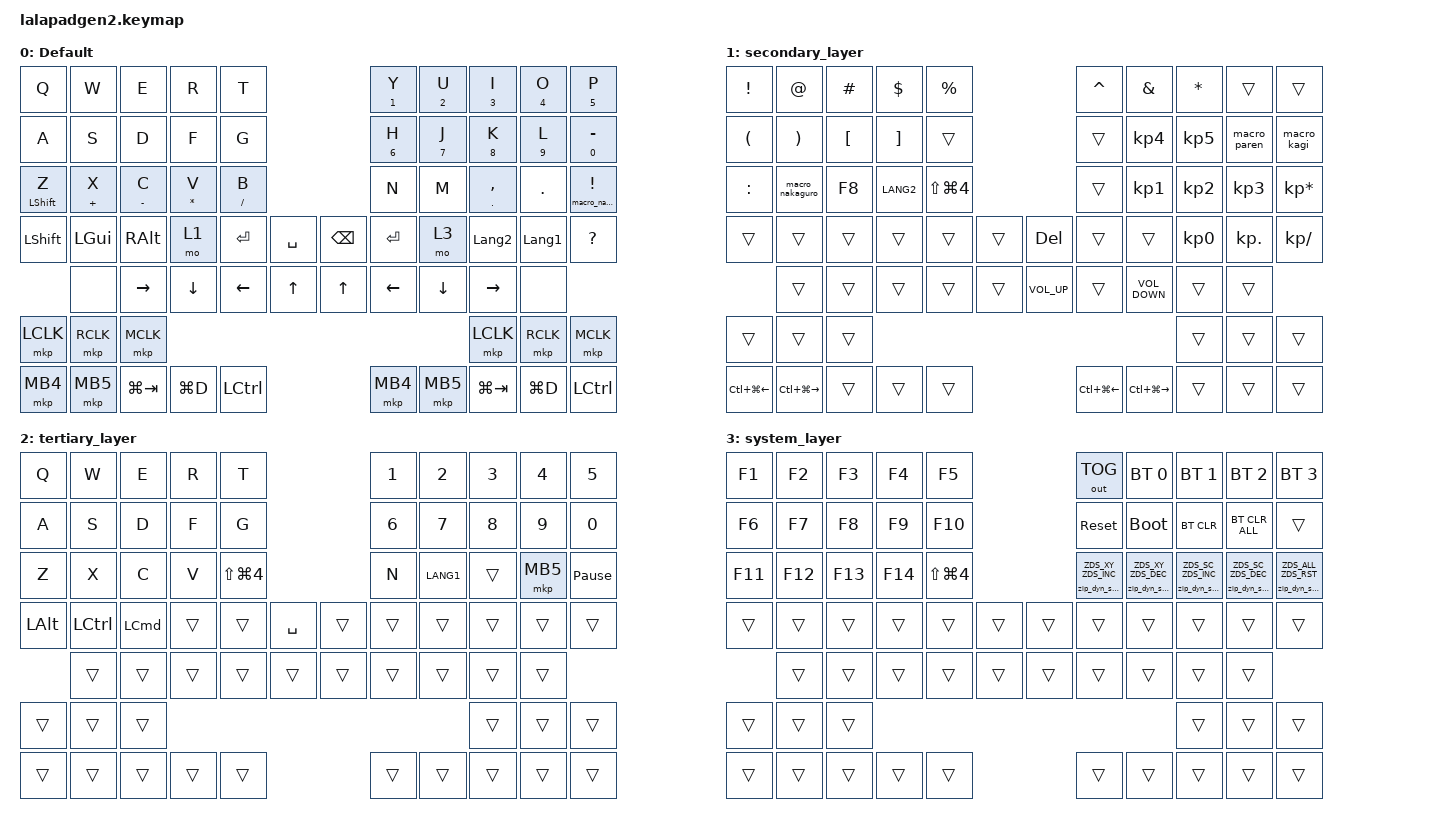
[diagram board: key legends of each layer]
#include <input/processors.dtsi>
#include <dt-bindings/zmk/zip_dynamic_scale.h>
#include <behaviors.dtsi>
#include <dt-bindings/zmk/bt.h>
#include <dt-bindings/zmk/keys.h>
#include <dt-bindings/zmk/outputs.h>
#include <dt-bindings/zmk/pointing.h>

#define DEFAULT_LAYER 0
#define SECONDARY_LAYER 1
#define TERTIARY_LAYER 2
#define SYSTEM_LAYER 3

&mt { quick-tap-ms = <200>; };

&lt { quick-tap-ms = <200>; };

/ {
    behaviors {
        zip_dyn_scale: zip_dyn_scale {
            compatible = "zmk,behavior-zip-dynamic-scale";
            #binding-cells = <2>;
        };

        zip_dyn_scale_set: zip_dyn_scale_set {
            compatible = "zmk,behavior-zip-dynamic-scale-set";
            #binding-cells = <2>;
        };

        mt2: mod_tap2 {
            compatible = "zmk,behavior-hold-tap";
            #binding-cells = <2>;
            flavor = "tap-preferred";
            tapping-term-ms = <200>;
            quick-tap-ms = <200>;
            require-prior-idle-ms = <125>;
            bindings = <&kp>, <&kp>;
        };

        tap_dance_layer_1and2: tap_dance_layer_1and2 {
            compatible = "zmk,behavior-tap-dance";
            label = "td_mo12";
            #binding-cells = <0>;
            bindings = <&mo 1>, <&mo 2>;
        };

        td_q1: td_q1 {
            compatible = "zmk,behavior-hold-tap";
            label = "TD_Q1";
            #binding-cells = <2>;
            flavor = "tap-preferred";
            tapping-term-ms = <200>;
            quick-tap-ms = <200>;
            require-prior-idle-ms = <125>;
            bindings = <&kp>, <&kp>;
        };

        td_w2: td_w2 {
            compatible = "zmk,behavior-hold-tap";
            label = "TD_W2";
            #binding-cells = <2>;
            flavor = "tap-preferred";
            tapping-term-ms = <200>;
            quick-tap-ms = <200>;
            require-prior-idle-ms = <125>;
            bindings = <&kp>, <&kp>;
        };

        td_e3: td_e3 {
            compatible = "zmk,behavior-hold-tap";
            label = "TD_E3";
            #binding-cells = <2>;
            flavor = "tap-preferred";
            tapping-term-ms = <200>;
            quick-tap-ms = <200>;
            require-prior-idle-ms = <125>;
            bindings = <&kp>, <&kp>;
        };

        td_r4: td_r4 {
            compatible = "zmk,behavior-hold-tap";
            label = "TD_R4";
            #binding-cells = <2>;
            flavor = "tap-preferred";
            tapping-term-ms = <200>;
            quick-tap-ms = <200>;
            require-prior-idle-ms = <125>;
            bindings = <&kp>, <&kp>;
        };

        td_t5: td_t5 {
            compatible = "zmk,behavior-hold-tap";
            label = "TD_T5";
            #binding-cells = <2>;
            flavor = "tap-preferred";
            tapping-term-ms = <200>;
            quick-tap-ms = <200>;
            require-prior-idle-ms = <125>;
            bindings = <&kp>, <&kp>;
        };

        td_a6: td_a6 {
            compatible = "zmk,behavior-hold-tap";
            label = "TD_A6";
            #binding-cells = <2>;
            flavor = "tap-preferred";
            tapping-term-ms = <200>;
            quick-tap-ms = <200>;
            require-prior-idle-ms = <125>;
            bindings = <&kp>, <&kp>;
        };

        td_s7: td_s7 {
            compatible = "zmk,behavior-hold-tap";
            label = "TD_S7";
            #binding-cells = <2>;
            flavor = "tap-preferred";
            tapping-term-ms = <280>;
            quick-tap-ms = <200>;
            require-prior-idle-ms = <125>;
            bindings = <&kp>, <&kp>;
        };

        td_d8: td_d8 {
            compatible = "zmk,behavior-hold-tap";
            label = "TD_D8";
            #binding-cells = <2>;
            flavor = "tap-preferred";
            tapping-term-ms = <200>;
            quick-tap-ms = <200>;
            require-prior-idle-ms = <125>;
            bindings = <&kp>, <&kp>;
        };

        td_f9: td_f9 {
            compatible = "zmk,behavior-hold-tap";
            label = "TD_F9";
            #binding-cells = <2>;
            flavor = "tap-preferred";
            tapping-term-ms = <200>;
            quick-tap-ms = <200>;
            require-prior-idle-ms = <125>;
            bindings = <&kp>, <&kp>;
        };

        td_g0: td_g0 {
            compatible = "zmk,behavior-hold-tap";
            label = "TD_G0";
            #binding-cells = <2>;
            flavor = "tap-preferred";
            tapping-term-ms = <200>;
            quick-tap-ms = <200>;
            require-prior-idle-ms = <125>;
            bindings = <&kp>, <&kp>;
        };

        td_z: td_z {
            compatible = "zmk,behavior-hold-tap";
            label = "TD_Z";
            #binding-cells = <2>;
            flavor = "tap-preferred";
            tapping-term-ms = <200>;
            quick-tap-ms = <200>;
            require-prior-idle-ms = <125>;
            bindings = <&kp>, <&kp>;
        };

        td_x: td_x {
            compatible = "zmk,behavior-hold-tap";
            label = "TD_X";
            #binding-cells = <2>;
            flavor = "tap-preferred";
            tapping-term-ms = <200>;
            quick-tap-ms = <200>;
            require-prior-idle-ms = <125>;
            bindings = <&new_macromacro_plus>, <&kp>;
        };

        td_c: td_c {
            compatible = "zmk,behavior-hold-tap";
            label = "TD_C";
            #binding-cells = <2>;
            flavor = "tap-preferred";
            tapping-term-ms = <250>;
            quick-tap-ms = <200>;
            require-prior-idle-ms = <125>;
            bindings = <&new_macromacro_minus>, <&kp>;
        };

        td_v: td_v {
            compatible = "zmk,behavior-hold-tap";
            label = "TD_V";
            #binding-cells = <2>;
            flavor = "tap-preferred";
            tapping-term-ms = <250>;
            quick-tap-ms = <200>;
            require-prior-idle-ms = <125>;
            bindings = <&new_macromacro_star>, <&kp>;
        };

        td_b: td_b {
            compatible = "zmk,behavior-hold-tap";
            label = "TD_B";
            #binding-cells = <2>;
            flavor = "tap-preferred";
            tapping-term-ms = <200>;
            quick-tap-ms = <200>;
            require-prior-idle-ms = <125>;
            bindings = <&new_macromacro_slash>, <&kp>;
        };

        td_comma_dot: td_comma_dot {
            compatible = "zmk,behavior-hold-tap";
            label = "TD_COMMA_DOT";
            #binding-cells = <2>;
            flavor = "tap-preferred";
            tapping-term-ms = <200>;
            quick-tap-ms = <200>;
            require-prior-idle-ms = <125>;
            bindings = <&macro_dot>, <&kp>;
        };

        td_excl: td_excl {
            compatible = "zmk,behavior-hold-tap";
            label = "TD_EXCL";
            #binding-cells = <2>;
            flavor = "tap-preferred";
            tapping-term-ms = <200>;
            quick-tap-ms = <200>;
            require-prior-idle-ms = <125>;
            bindings = <&macro_nakaguro>, <&kp>;
        };
    };

    macros {
        macro_paren: macro_paren {
            compatible = "zmk,behavior-macro";
            #binding-cells = <0>;
            bindings = <&kp LANG2 &kp LS(N9) &kp LS(N0) &kp LEFT &kp LANG1>;
        };

        macro_kagi: macro_kagi {
            compatible = "zmk,behavior-macro";
            #binding-cells = <0>;
            bindings = <&kp LANG1 &kp LBKT &kp RBKT &kp ENTER &kp LEFT>;
        };

        macro_nakaguro: macro_nakaguro {
            compatible = "zmk,behavior-macro";
            #binding-cells = <0>;
            bindings = <&kp LANG1 &kp SLASH>;
        };

        macro_dot: macro_dot {
            compatible = "zmk,behavior-macro";
            #binding-cells = <0>;
            bindings = <&kp LANG2 &kp DOT &kp LANG1>;
            label = "MACRO_DOT";
        };

        new_macromacro_minus: new_macromacro_minus {
            compatible = "zmk,behavior-macro";
            #binding-cells = <0>;
            bindings = <&kp LANG2 &kp MINUS &kp LANG1>;
            label = "NEW_MACROMACRO_MINUS";
        };

        new_macromacro_equal: new_macromacro_equal {
            compatible = "zmk,behavior-macro";
            #binding-cells = <0>;
            bindings = <&kp LANG2 &kp EQUAL &kp LANG1>;
            label = "NEW_MACROMACRO_EQUAL";
        };

        new_macromacro_plus: new_macromacro_plus {
            compatible = "zmk,behavior-macro";
            #binding-cells = <0>;
            bindings = <&kp LANG2 &kp LS(EQUAL) &kp LANG1>;
            label = "NEW_MACROMACRO_PLUS";
        };

        new_macromacro_star: new_macromacro_star {
            compatible = "zmk,behavior-macro";
            #binding-cells = <0>;
            bindings = <&kp LANG2 &kp LS(N8) &kp LANG1>;
            label = "NEW_MACROMACRO_STAR";
        };

        new_macromacro_slash: new_macromacro_slash {
            compatible = "zmk,behavior-macro";
            #binding-cells = <0>;
            bindings = <&kp LANG2 &kp SLASH &kp LANG1>;
            label = "NEW_MACROMACRO_SLASH";
        };
    };

    combos {
        compatible = "zmk,combos";

        CONBO_ESC {
            bindings = <&kp ESCAPE>;
            key-positions = <0 1>;
        };

        COMBO_TAB {
            bindings = <&kp TAB>;
            key-positions = <10 11>;
        };

        COMBO_CTRL {
            bindings = <&kp LCTRL>;
            key-positions = <30 31>;
        };

        COMBO_ZX_EQUAL {
            bindings = <&new_macromacro_equal>;
            key-positions = <20 21>;
        };

        ctrl_C {
            bindings = <&kp LC(C)>;
            key-positions = <21 22>;
        };

        ctrl_V {
            bindings = <&kp LC(V)>;
            key-positions = <22 23>;
        };
    };

    keymap {
        compatible = "zmk,keymap";

        DEFAULT_LAYER {
            display-name = "Default";
            bindings = <
&kp Q          &kp W         &kp E          &kp R          &kp T                                   &td_q1 N1 Y  &td_w2 N2 U  &td_e3 NUMBER_3 I        &td_r4 N4 O     &td_t5 N5 P
&kp A          &kp S         &kp D          &kp F          &kp G                                   &td_a6 N6 H  &td_s7 N7 J  &td_d8 N8 K              &td_f9 N9 L     &td_g0 N0 MINUS
&td_z LSHFT Z  &td_x PLUS X  &td_c MINUS C  &td_v ASTRK V  &td_b FSLH B                            &kp N        &kp M        &td_comma_dot DOT COMMA  &kp PERIOD      &td_excl 0 EXCLAMATION
&kp LSHFT      &kp LEFT_GUI  &kp RIGHT_ALT  &mo 1          &kp RETURN    &kp SPACE  &kp BACKSPACE  &kp RETURN   &mo 3        &kp LANGUAGE_2           &kp LANGUAGE_1  &kp QUESTION
               &none         &kp RIGHT      &kp DOWN       &kp LEFT      &kp UP     &kp UP         &kp LEFT     &kp DOWN     &kp RIGHT                &none
&mkp LCLK      &mkp RCLK     &mkp MCLK                                                                                       &mkp LCLK                &mkp RCLK       &mkp MCLK
&mkp MB4       &mkp MB5      &kp LG(TAB)    &kp LG(D)      &kp LCTRL                               &mkp MB4     &mkp MB5     &kp LG(TAB)              &kp LG(D)       &kp LCTRL
            >;
        };

        SECONDARY_LAYER {
            display-name = "secondary_layer";
            bindings = <
&kp EXCLAMATION       &kp AT_SIGN            &kp HASH          &kp DOLLAR         &kp PERCENT                                    &kp CARET         &kp AMPERSAND      &kp ASTERISK     &trans           &trans
&kp LEFT_PARENTHESIS  &kp RIGHT_PARENTHESIS  &kp LEFT_BRACKET  &kp RIGHT_BRACKET  &trans                                         &trans            &kp KP_NUMBER_4    &kp KP_NUMBER_5  &macro_paren     &macro_kagi
&kp COLON             &macro_nakaguro        &kp F8            &kp LANG2          &kp LS(LG(NUMBER_4))                           &trans            &kp KP_NUMBER_1    &kp KP_NUMBER_2  &kp KP_NUMBER_3  &kp KP_ASTERISK
&trans                &trans                 &trans            &trans             &trans                &trans  &kp DEL          &trans            &trans             &kp KP_NUMBER_0  &kp KP_DOT       &kp KP_DIVIDE
                      &trans                 &trans            &trans             &trans                &trans  &kp K_VOLUME_UP  &trans            &kp K_VOLUME_DOWN  &trans           &trans
&trans                &trans                 &trans                                                                                                                   &trans           &trans           &trans
&kp LC(LG(LEFT))      &kp LC(LG(RIGHT))      &trans            &trans             &trans                                         &kp LC(LG(LEFT))  &kp LC(LG(RIGHT))  &trans           &trans           &trans
            >;
        };

        TERTIARY_LAYER {
            display-name = "tertiary_layer";
            bindings = <
&kp Q         &kp W             &kp E             &kp R   &kp T                                    &kp NUMBER_1  &kp NUMBER_2  &kp NUMBER_3  &kp NUMBER_4  &kp N5
&kp A         &kp S             &kp D             &kp F   &kp G                                    &kp NUMBER_6  &kp N7        &kp N8        &kp N9        &kp N0
&kp Z         &kp X             &kp C             &kp V   &kp LS(LG(NUMBER_4))                     &kp N         &kp LANG1     &trans        &mkp MB5      &kp PAUSE_BREAK
&kp LEFT_ALT  &kp LEFT_CONTROL  &kp LEFT_COMMAND  &trans  &trans                &kp SPACE  &trans  &trans        &trans        &trans        &trans        &trans
              &trans            &trans            &trans  &trans                &trans     &trans  &trans        &trans        &trans        &trans
&trans        &trans            &trans                                                                                         &trans        &trans        &trans
&trans        &trans            &trans            &trans  &trans                                   &trans        &trans        &trans        &trans        &trans
            >;
        };

        SYSTEM_LAYER {
            display-name = "system_layer";
            bindings = <
&kp F1   &kp F2   &kp F3   &kp F4   &kp F5                                &out OUT_TOG                   &bt BT_SEL 0                   &bt BT_SEL 1                   &bt BT_SEL 2                   &bt BT_SEL 3
&kp F6   &kp F7   &kp F8   &kp F9   &kp F10                               &sys_reset                     &bootloader                    &bt BT_CLR                     &bt BT_CLR_ALL                 &trans
&kp F11  &kp F12  &kp F13  &kp F14  &kp LS(LG(NUMBER_4))                  &zip_dyn_scale ZDS_XY ZDS_INC  &zip_dyn_scale ZDS_XY ZDS_DEC  &zip_dyn_scale ZDS_SC ZDS_INC  &zip_dyn_scale ZDS_SC ZDS_DEC  &zip_dyn_scale ZDS_ALL ZDS_RST
&trans   &trans   &trans   &trans   &trans                &trans  &trans  &trans                         &trans                         &trans                         &trans                         &trans
         &trans   &trans   &trans   &trans                &trans  &trans  &trans                         &trans                         &trans                         &trans
&trans   &trans   &trans                                                                                                                &trans                         &trans                         &trans
&trans   &trans   &trans   &trans   &trans                                &trans                         &trans                         &trans                         &trans                         &trans
            >;
        };
    };
};
